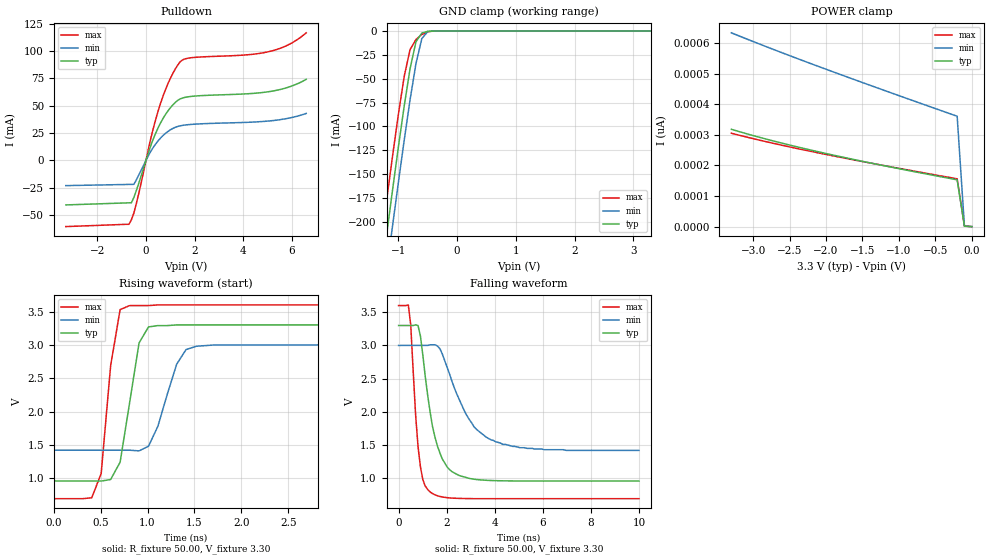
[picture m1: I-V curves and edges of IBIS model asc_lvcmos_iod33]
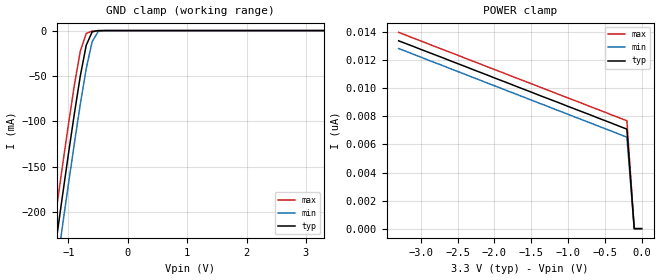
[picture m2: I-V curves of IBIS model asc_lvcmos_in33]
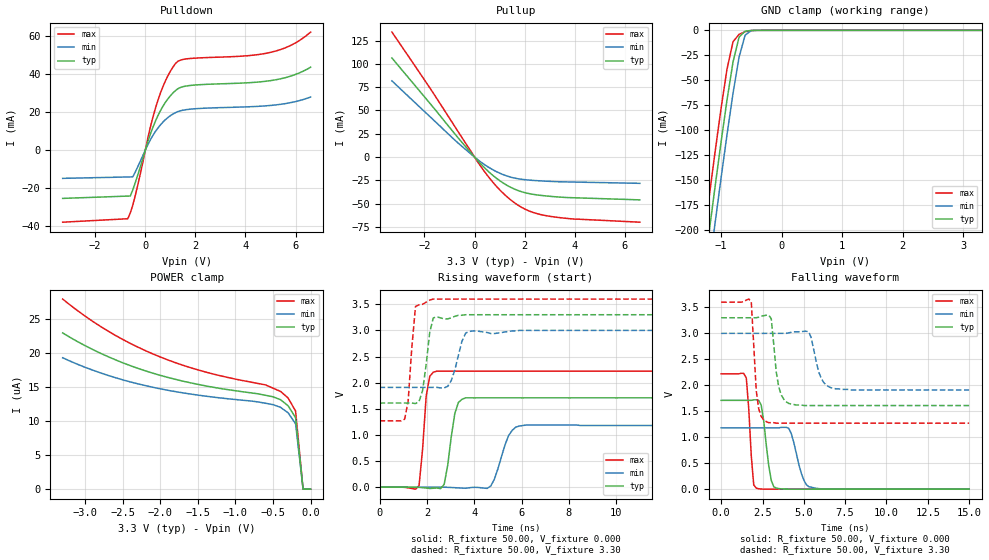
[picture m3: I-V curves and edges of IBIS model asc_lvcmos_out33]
| IBIS file  created by s2ibis2 version 1.1
| North Carolina State University Electronics Research Laboratory  1995
[IBIS ver]   3.2
[File name]   l_asc10.ibs
[File Rev]   1.2
[Date]   August 11, 2020
[Source]   Lattice Semiconductor UM10 Process
[Notes]   Model created by Lattice Applications Engineering for
   Questions regarding this model email
   Technical Support at techsupport@latticesemi.com
[Disclaimer] This IBIS source code is intended as a design reference
   which illustrates how the Lattice Semiconductor device operates.
   It is the user's responsibility to verify their design for
   consistency and functionality through the use of formal
   verification methods.  Lattice Semiconductor provides no warranty
   regarding the use or functionality of this data.
[Copyright]   Copyright 2020 Lattice Semiconductor Corp.
|   Component L_ASC10_48-Pin_TQFP
[Component]   L_ASC10_48-Pin_TQFP
[Manufacturer]   Lattice Semiconductor Corp. [Package]
[Package]
| variable   typ   min   max
R_pkg   57.55m   44.70m   70.40m
L_pkg   3.96nH   3.31nH   4.61nH
C_pkg   759.00fF   531.00fF   987.00fF
[Pin]  signal_name   model_name   R_pin   L_pin   C_pin
1   GPIO6   asc_lvcmos_iod33
2   HVOUT1   NC
3   HVOUT2   NC
4   WDAT   asc_lvcmos_in33
5   RDAT   asc_lvcmos_out33
6   WRCLK   asc_lvcmos_in33
7   ASCCLK   asc_lvcmos_out33
8   VCCA   POWER
9   HVOUT3   NC
10   HVOUT4   NC
11   GPIO8   asc_lvcmos_iod33
12   GPIO9   asc_lvcmos_iod33
13   GPIO10   asc_lvcmos_iod33
14   SDA   asc_lvcmos_iod33
15   SCL   asc_lvcmos_iod33
16   I2C_ADDR   NC
17   HIMONP   NC
18   HIMONN_HVMON   NC
19   IMON1P   NC
20   IMON1N   NC
21   TMON1P   NC
22   TMON1N   NC
23   TMON2P   NC
24   TMON2N   NC
25   VMON1GS   GND
26   VMON1   NC
27   VMON2GS   GND
28   VMON2   NC
29   VMON3GS   GND
30   VMON3   NC
31   VMON4GS   GND
32   VMON4   NC
33   VCCA   POWER
34   VMON5   NC
35   VMON6   NC
36   VMON7   NC
37   VMON8   NC
38   VMON9   NC
39   TRIM1   NC
40   TRIM2   NC
41   TRIM3   NC
42   TRIM4   NC
43   RESETb   asc_lvcmos_iod33
44   GPIO1   asc_lvcmos_iod33
45   GPIO2   asc_lvcmos_iod33
46   GPIO3   asc_lvcmos_iod33
47   GPIO4   asc_lvcmos_iod33
48   GPIO5   asc_lvcmos_iod33
49   DIE_PAD   GND
| Models and submodels in the file (3): asc_lvcmos_iod33 (I/O_open_drain), asc_lvcmos_in33 (Input), asc_lvcmos_out33 (3-state)
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|   Model asc_lvcmos_iod33
[Model]   asc_lvcmos_iod33
Model_type   I/O_open_drain
Polarity   Non-Inverting
Enable   Active-Low
Vinl = 900.00mV
Vinh =   2.00V
Vmeas =   1.65V
Rref =   2.50k
Vref =   3.30V
C_comp   10.00pF   7.00pF   15.00pF
[Temperature Range]   50.00   100.00   0.000
[Voltage Range]   3.30V   3.00V   3.60V
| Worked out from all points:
|   slope of the pulldown table from 0 to 0.495 V, typ, clamps not added: 16.8 ohm
|   GND clamp passes 1 mA (typ) near -0.54 V on its own axis
|   rising waveform, R_fixture 50.00, V_fixture 3.30: 20-80 % time 159ps typ, 209ps min, 128ps max; typ from 0.958 V to 3.3 V
|   falling waveform, R_fixture 50.00, V_fixture 3.30: 20-80 % time 658ps typ, 1.24ns min, 327ps max; typ from 3.3 V to 0.958 V
[Pulldown]
| voltage   I(typ)   I(min)   I(max)
-3.3V     -40.73mA   -23.07mA   -60.54mA
-700mV    -38.81mA   -22mA      -58.44mA
-600mV    -38.74mA   -21.95mA   -54.28mA
-500mV    -33.99mA   -21.91mA   -48.21mA
-400mV    -27.79mA   -17.98mA   -39.86mA
200mV     13.54mA    8.29mA     20.17mA
600mV     34.22mA    20.43mA    52.15mA
1.1V      50.56mA    29.13mA    79.29mA
1.5V      57mA       31.97mA    91.8mA
5V        62.63mA    35.9mA     99.14mA
5.9V      67.18mA    38.69mA    106.1mA
6.6V      74.12mA    42.91mA    116.6mA
[GND_clamp]
| voltage   I(typ)   I(min)   I(max)
-3.3V     -1.24A     -1.28A     -1.2A
-1.3V     -261.1mA   -299mA     -224.9mA
-1.2V     -213.9mA   -251.8mA   -177.9mA
-1.1V     -167.5mA   -205.1mA   -132mA
-1V       -122.1mA   -159.2mA   -87.77mA
-900mV    -78.67mA   -114.5mA   -47.65mA
-800mV    -39.4mA    -72.06mA   -19.39mA
-700mV    -11.32mA   -34.17mA   -8.94mA
-600mV    -2.08mA    -7.95mA    -3.57mA
-500mV    -296.8uA   -591.4uA   -716.2uA
-400mV    -23.18uA   -29.44uA   -55.49uA
3.3V      144.2pA    369.4pA    135.4pA
[POWER_clamp]
| voltage   I(typ)   I(min)   I(max)
-3.3V     318.3pA    634pA      305.4pA
-2.7V     278.7pA    577.5pA    271.2pA
-2V       239.1pA    514.8pA    236pA
-200mV    153pA      361pA      156.4pA
-100mV    1.5pA      1.2pA      1.8pA
0V        0A         0A         0A
[Ramp]
| variable   typ   min   max
dV/dt_r   1.94/2.88n   1.72/3.31n   2.14/2.38n
dV/dt_f   1.97/190.62p   1.78/364.06p   2.15/108.23p
R_load = 2.50k
[Rising Waveform]
R_fixture = 50.00
V_fixture = 3.30
V_fixture_min = 3.00
V_fixture_max = 3.60
C_fixture = 0.000F
| time   V(typ)   V(min)   V(max)
0s        958.2mV    1.42V      692.6mV
404ps     958.2mV    1.42V      705.9mV
505.1ps   956.8mV    1.42V      1.07V
606.1ps   980.3mV    1.42V      2.69V
707.1ps   1.24V      1.42V      3.53V
808.1ps   2.13V      1.42V      3.59V
1.01ns    3.27V      1.48V      3.59V
1.31ns    3.3V       2.71V      3.6V
1.52ns    3.3V       2.98V      3.6V
10ns      3.3V       3V         3.6V
[Falling Waveform]
R_fixture = 50.00
V_fixture = 3.30
V_fixture_min = 3.00
V_fixture_max = 3.60
C_fixture = 0.000F
| time   V(typ)   V(min)   V(max)
0s        3.3V       3V         3.6V
404ps     3.3V       3V         3.61V
505.1ps   3.3V       3V         3.31V
808.1ps   3.3V       3V         1.48V
1.01ns    2.85V      3V         977.1mV
1.31ns    2V         3.01V      795.3mV
2.02ns    1.17V      2.67V      708.3mV
2.93ns    999.2mV    1.89V      694.1mV
3.84ns    966.5mV    1.58V      692.7mV
10ns      958.2mV    1.42V      692.6mV
|   Model asc_lvcmos_in33
|Copied from 1208 IBIS
[Model]   asc_lvcmos_in33
Model_type   Input
Vinl = 800.00mV
Vinh =   2.00V
C_comp   10.00pF   7.00pF   15.00pF
[Temperature Range]   50.00   100.00   0.000
[Voltage Range]   3.30V   3.00V   3.60V
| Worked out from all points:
|   GND clamp passes 1 mA (typ) near -0.57 V on its own axis
[GND_clamp]
| voltage   I(typ)   I(min)   I(max)
-3.3V     -1.25A     -1.29A     -1.22A
-1.3V     -276.3mA   -309.8mA   -243.4mA
-1.2V     -229mA     -262.5mA   -196mA
-1.1V     -182.2mA   -215.6mA   -149.3mA
-1V       -136.2mA   -169.5mA   -103.7mA
-900mV    -91.76mA   -124.5mA   -60.33mA
-800mV    -50.21mA   -81.31mA   -22.76mA
-700mV    -16.19mA   -41.97mA   -3.22mA
-600mV    -1.41mA    -12.07mA   -501.2uA
-500mV    -62.47uA   -1.09mA    -65.4uA
-300mV    -215.1nA   -2.63uA    -276.8nA
3.3V      6.68nA     6.72nA     6.67nA
[POWER_clamp]
| voltage   I(typ)   I(min)   I(max)
-3.3V     13.38nA    12.83nA    13.98nA
-200mV    7.09nA     6.52nA     7.69nA
-100mV    1.5pA      1.2pA      1.8pA
0V        0A         0A         0A
|   Model asc_lvcmos_out33
[Model]   asc_lvcmos_out33
Model_type   3-state
Enable   Active-Low
Vmeas =   1.65V
C_comp   10.00pF   7.00pF   15.00pF
[Temperature Range]   50.00   100.00   0.000
[Voltage Range]   3.30V   3.00V   3.60V
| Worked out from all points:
|   slope of the pulldown table from 0 to 0.495 V, typ, clamps not added: 27.6 ohm
|   slope of the pullup table from 0 to 0.495 V, typ, clamps not added: 35.3 ohm
|   GND clamp passes 1 mA (typ) near -0.60 V on its own axis
|   rising waveform, R_fixture 50.00, V_fixture 0.000: 20-80 % time 317ps typ, 502ps min, 226ps max; typ from 0 V to 1.71 V
|   rising waveform, R_fixture 50.00, V_fixture 3.30: 20-80 % time 272ps typ, 380ps min, 233ps max; typ from 1.61 V to 3.3 V
|   falling waveform, R_fixture 50.00, V_fixture 0.000: 20-80 % time 391ps typ, 575ps min, 263ps max; typ from 1.71 V to 0 V
|   falling waveform, R_fixture 50.00, V_fixture 3.30: 20-80 % time 375ps typ, 528ps min, 285ps max; typ from 3.3 V to 1.61 V
[Pulldown]
| voltage   I(typ)   I(min)   I(max)
-3.3V     -25.49mA   -14.92mA   -38.04mA
-700mV    -24.27mA   -14.19mA   -36.22mA
-600mV    -24.22mA   -14.16mA   -33.16mA
-500mV    -21.01mA   -14.13mA   -29.05mA
200mV     8.33mA     5.36mA     12.03mA
500mV     18.06mA    11.58mA    26.13mA
900mV     26.99mA    17.15mA    39.15mA
1.3V      32.35mA    20.31mA    46.82mA
1.9V      34.23mA    21.71mA    48.43mA
5V        36.63mA    23.54mA    51.55mA
5.8V      39mA       25.02mA    55.19mA
6.6V      43.71mA    27.99mA    62.24mA
[Pullup]
| voltage   I(typ)   I(min)   I(max)
-3.3V     106.3mA    81.75mA    134.1mA
-1.8V     58.17mA    43.84mA    74.71mA
-800mV    25.28mA    18.53mA    33.23mA
200mV     -6.06mA    -4.31mA    -8.16mA
600mV     -16.63mA   -11.6mA    -22.72mA
900mV     -23.28mA   -15.98mA   -32.16mA
1.5V      -33.21mA   -21.93mA   -47.15mA
1.8V      -36.52mA   -23.55mA   -52.7mA
2.2V      -39.32mA   -24.73mA   -58.08mA
3V        -42.07mA   -26.05mA   -63.51mA
4V        -43.68mA   -26.82mA   -66.55mA
6.6V      -45.91mA   -28.19mA   -69.86mA
[GND_clamp]
| voltage   I(typ)   I(min)   I(max)
-3.3V     -1.23A     -1.26A     -1.2A
-1.3V     -251.7mA   -288.4mA   -216.5mA
-1.2V     -204.6mA   -241.3mA   -169.5mA
-1.1V     -158.2mA   -194.8mA   -123.5mA
-1V       -113mA     -149.1mA   -79.25mA
-900mV    -69.98mA   -104.8mA   -39.06mA
-800mV    -31.69mA   -62.98mA   -11.46mA
-700mV    -6.75mA    -26.8mA    -4mA
-600mV    -866.4uA   -4.78mA    -1.38mA
-500mV    -98.89uA   -292.8uA   -213.3uA
-400mV    -6.67uA    -13.94uA   -12.68uA
3.3V      166pA      55.14nA    58.43pA
[POWER_clamp]
| voltage   I(typ)   I(min)   I(max)
-3.3V     22.97uA    19.32uA    27.95uA
-3V       21.09uA    17.91uA    25.43uA
-2.7V     19.5uA     16.74uA    23.27uA
-2.4V     18.16uA    15.77uA    21.43uA
-2.1V     17.05uA    14.98uA    19.89uA
-1.5V     15.41uA    13.83uA    17.54uA
-600mV    13.8uA     12.63uA    15.33uA
-400mV    13.15uA    12.03uA    14.37uA
-300mV    12.27uA    11.23uA    13.41uA
-200mV    10.52uA    9.62uA     11.49uA
-100mV    1.5pA      1.2pA      1.8pA
0V        0A         0A         0A
[Ramp]
| variable   typ   min   max
dV/dt_r   1.89/188.82p   1.68/319.12p   2.08/120.53p
dV/dt_f   1.92/162.00p   1.71/273.76p   2.11/102.53p
R_load = 680.00
[Rising Waveform]
R_fixture = 50.00
V_fixture = 0.000
V_fixture_min = 0.000
V_fixture_max = 0.000
C_fixture = 0.000F
| time   V(typ)   V(min)   V(max)
0s        50.93nV    66.29nV    -7.55nV
1.67ns    -3.62mV    -2.96uV    29.26mV
1.97ns    -16.64mV   -6.95uV    1.74V
2.27ns    -21mV      88.04uV    2.2V
2.73ns    53.1mV     -573.4uV   2.22V
3.18ns    1.41V      -9.86mV    2.22V
3.64ns    1.71V      -20.46mV   2.22V
4.7ns     1.71V      22.89mV    2.22V
5.91ns    1.71V      1.17V      2.22V
15ns      1.71V      1.18V      2.22V
[Rising Waveform]
R_fixture = 50.00
V_fixture = 3.30
V_fixture_min = 3.00
V_fixture_max = 3.60
C_fixture = 0.000F
| time   V(typ)   V(min)   V(max)
0s        1.61V      1.91V      1.27V
1.06ns    1.61V      1.91V      1.3V
1.21ns    1.61V      1.91V      1.65V
1.52ns    1.6V       1.91V      3.46V
1.82ns    1.85V      1.91V      3.5V
2.12ns    2.96V      1.91V      3.58V
2.27ns    3.24V      1.91V      3.6V
2.88ns    3.22V      1.93V      3.6V
3.79ns    3.3V       2.98V      3.6V
15ns      3.3V       3V         3.6V
[Falling Waveform]
R_fixture = 50.00
V_fixture = 0.000
V_fixture_min = 0.000
V_fixture_max = 0.000
C_fixture = 0.000F
| time   V(typ)   V(min)   V(max)
0s        1.71V      1.18V      2.22V
1.52ns    1.71V      1.18V      2.14V
1.97ns    1.72V      1.18V      81.54mV
2.12ns    1.72V      1.18V      19.16mV
2.42ns    1.62V      1.18V      2.64mV
3.03ns    169.6mV    1.18V      18.46uV
3.33ns    21.38mV    1.18V      -45.03uV
4.09ns    536.9uV    1.17V      -33.41uV
5.3ns     -121.9uV   47.31mV    -9.97uV
15ns      -1.8uV     -5.4uV     -1.09uV
[Falling Waveform]
R_fixture = 50.00
V_fixture = 3.30
V_fixture_min = 3.00
V_fixture_max = 3.60
C_fixture = 0.000F
| time   V(typ)   V(min)   V(max)
0s        3.3V       3V         3.6V
1.82ns    3.3V       3V         3.61V
2.12ns    3.3V       3V         1.9V
2.73ns    3.35V      3V         1.3V
3.03ns    3.28V      3V         1.28V
3.48ns    1.97V      3V         1.27V
4.09ns    1.65V      3.01V      1.27V
5.3ns     1.61V      3.03V      1.27V
6.67ns    1.61V      1.95V      1.27V
15ns      1.61V      1.91V      1.27V
